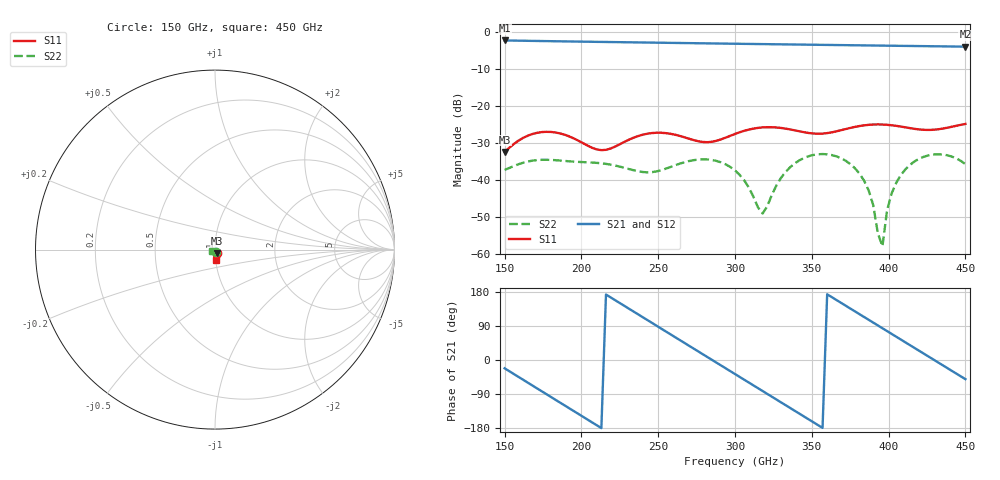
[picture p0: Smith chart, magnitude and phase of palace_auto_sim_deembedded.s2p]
! Created with skrf 1.11.0 (http://scikit-rf.org).
# GHz S DB R 50.0
!freq dBS11 angS11 dBS21 angS21 dBS12 angS12 dBS22 angS22
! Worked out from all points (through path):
!   101 points, 150 GHz to 450 GHz, reference 50 ohm
!   highest |S21| = -2.32 dB at 150 GHz (marker M1); lowest = -4.0 dB at 450 GHz (marker M2)
!   group delay of S21, straight-line fit = 6.93 ps
!   lowest |S11| = -32.4 dB at 150 GHz (marker M3), VSWR 1.05, Z = 51.3 - j2.04 ohm
!   |S11| at or under -10 dB: start of sweep to end of sweep
!   |S22| runs from -57.8 to -33.0 dB; largest |S21 - S12| = 1.2e-13
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150  -32.44 -56.5  -2.32 -21.9  -2.32 -21.9  -37.25 -60.0
165  -28.03 -62.1  -2.41 -59.5  -2.41 -59.5  -35.00 -57.0
177  -26.97 -77.9  -2.49 -89.6  -2.49 -89.6  -34.52 -63.6
201  -30.02 -97.8  -2.64 -149.7  -2.64 -149.7  -35.15 -71.3
222  -30.95 -70.8  -2.76 157.8  -2.76 157.8  -36.08 -78.7
237  -28.11 -70.9  -2.85 120.3  -2.85 120.3  -37.63 -76.9
252  -27.23 -83.3  -2.93 82.8  -2.93 82.8  -37.32 -65.7
276  -29.51 -87.8  -3.07 22.8  -3.07 22.8  -34.47 -79.3
300  -27.55 -70.9  -3.20 -37.1  -3.20 -37.1  -37.39 -115.9
318  -25.78 -80.8  -3.30 -81.9  -3.30 -81.9  -49.02 -77.6
333  -26.11 -90.2  -3.38 -119.3  -3.38 -119.3  -37.77 -40.4
351  -27.43 -88.6  -3.47 -164.2  -3.47 -164.2  -33.22 -76.6
366  -26.85 -80.3  -3.55 158.4  -3.55 158.4  -33.59 -112.5
381  -25.42 -81.8  -3.63 121.1  -3.63 121.1  -38.22 -151.3
387  -25.09 -84.7  -3.66 106.2  -3.66 106.2  -42.76 -168.9
396  -25.00 -89.5  -3.71 83.8  -3.71 83.8  -57.83 29.3
399  -25.08 -91.0  -3.73 76.3  -3.73 76.3  -48.16 -2.9
402  -25.20 -92.2  -3.74 68.8  -3.74 68.8  -43.59 -15.2
411  -25.77 -93.9  -3.79 46.5  -3.79 46.5  -37.07 -42.4
423  -26.44 -90.4  -3.85 16.6  -3.85 16.6  -33.69 -75.7
435  -26.12 -84.1  -3.91 -13.3  -3.91 -13.3  -33.09 -109.3
450  -24.85 -83.1  -3.99 -50.6  -3.99 -50.6  -35.69 -154.5
